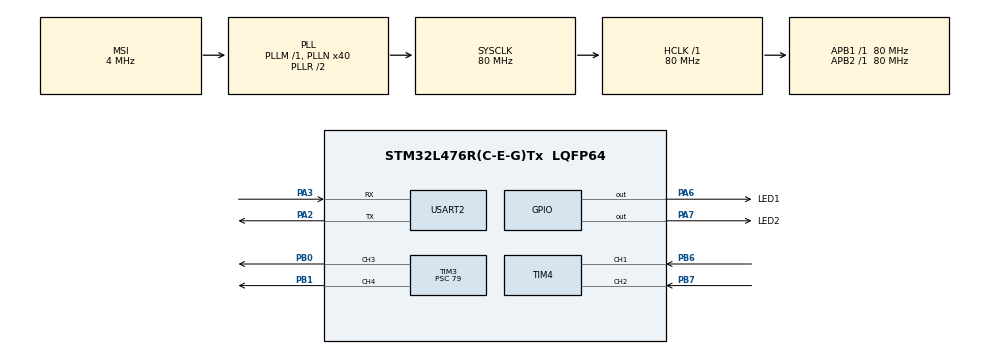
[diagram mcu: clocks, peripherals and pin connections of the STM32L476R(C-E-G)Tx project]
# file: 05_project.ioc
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Mcu.Family=STM32L4
Mcu.Name=STM32L476R(C-E-G)Tx
Mcu.Package=LQFP64
NVIC.PriorityGroup=NVIC_PRIORITYGROUP_4
NVIC.TIM6_DAC_IRQn=true\:10\:0\:true\:false\:true\:true\:true\:true
NVIC.TIM7_IRQn=true\:10\:0\:true\:false\:true\:true\:true\:true
NVIC.USART2_IRQn=true\:0\:0\:false\:false\:true\:true\:true\:true
PA13\ (JTMS-SWDIO).Mode=Serial_Wire
PA13\ (JTMS-SWDIO).Signal=SYS_JTMS-SWDIO
PA14\ (JTCK-SWCLK).Mode=Serial_Wire
PA14\ (JTCK-SWCLK).Signal=SYS_JTCK-SWCLK
PA2.Mode=Asynchronous
PA2.Signal=USART2_TX
PA3.Mode=Asynchronous
PA3.Signal=USART2_RX
PA6.GPIO_Label=LED1
PA6.Signal=GPIO_Output
PA7.GPIO_Label=LED2
PA7.Signal=GPIO_Output
PB0.Signal=S_TIM3_CH3
PB1.Signal=S_TIM3_CH4
PB6.Signal=S_TIM4_CH1
PB7.Signal=S_TIM4_CH2
ProjectManager.HeapSize=0x200
ProjectManager.StackSize=0x400
ProjectManager.TargetToolchain=STM32CubeIDE
RCC.AHBFreq_Value=80000000
RCC.APB1Freq_Value=80000000
RCC.APB1TimFreq_Value=80000000
RCC.APB2Freq_Value=80000000
RCC.APB2TimFreq_Value=80000000
RCC.CortexFreq_Value=80000000
RCC.HCLKFreq_Value=80000000
RCC.HSE_VALUE=8000000
RCC.HSI_VALUE=16000000
RCC.LSE_VALUE=32768
RCC.MSI_VALUE=4000000
RCC.PLLN=40
RCC.SYSCLKFreq_VALUE=80000000
RCC.SYSCLKSource=RCC_SYSCLKSOURCE_PLLCLK
RCC.VCOOutputFreq_Value=160000000
SH.S_TIM3_CH3.0=TIM3_CH3,PWM Generation3 CH3
SH.S_TIM3_CH4.0=TIM3_CH4,PWM Generation4 CH4
SH.S_TIM4_CH1.0=TIM4_CH1,Encoder_Interface
SH.S_TIM4_CH2.0=TIM4_CH2,Encoder_Interface
TIM3.Channel-PWM\ Generation3\ CH3=TIM_CHANNEL_3
TIM3.Channel-PWM\ Generation4\ CH4=TIM_CHANNEL_4
TIM3.OCPolarity_3=TIM_OCPOLARITY_LOW
TIM3.OCPolarity_4=TIM_OCPOLARITY_LOW
TIM3.Period=999
TIM3.Prescaler=79
TIM3.Pulse-PWM\ Generation3\ CH3=400
TIM3.Pulse-PWM\ Generation4\ CH4=2000
TIM6.Period=19999
TIM6.Prescaler=7999
TIM7.Period=4999
TIM7.Prescaler=7999
USART2.VirtualMode-Asynchronous=VM_ASYNC
VP_TIM3_VS_ClockSourceINT.Mode=Internal
VP_TIM6_VS_ClockSourceINT.Mode=Enable_Timer
VP_TIM7_VS_ClockSourceINT.Mode=Enable_Timer
board=custom

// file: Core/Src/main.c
/* USER CODE BEGIN Header */
/**
  ******************************************************************************
  * @file           : main.c
  * @brief          : Main program body
  ******************************************************************************
  * @attention
  *
  * Copyright (c) 2026 STMicroelectronics.
  * All rights reserved.
  *
  * This software is licensed under terms that can be found in the LICENSE file
  * in the root directory of this software component.
  * If no LICENSE file comes with this software, it is provided AS-IS.
  *
  ******************************************************************************
  */
/* USER CODE END Header */
#include "main.h"

TIM_HandleTypeDef htim3;
TIM_HandleTypeDef htim4;
TIM_HandleTypeDef htim6;
TIM_HandleTypeDef htim7;

UART_HandleTypeDef huart2;

void SystemClock_Config(void);
static void MX_GPIO_Init(void);
static void MX_TIM6_Init(void);
static void MX_TIM7_Init(void);
static void MX_USART2_UART_Init(void);
static void MX_TIM3_Init(void);
static void MX_TIM4_Init(void);

/* USER CODE BEGIN 0 */
void HAL_TIM_PeriodElapsedCallback(TIM_HandleTypeDef *htim)
{
    if (htim->Instance == TIM6)
    {
        HAL_GPIO_TogglePin(LED1_GPIO_Port, LED1_Pin);
    }

    if (htim->Instance == TIM7)
    {
        HAL_GPIO_TogglePin(LED2_GPIO_Port, LED2_Pin);
    }
}

int __io_putchar(int ch)
{
  if (ch == '\n') {
    __io_putchar('\r');
  }

  HAL_UART_Transmit(&huart2, (uint8_t*)&ch, 1, HAL_MAX_DELAY);

  return 1;
}
/* USER CODE END 0 */

int main(void)
{

  /* MCU Configuration--------------------------------------------------------*/

  /* Reset of all peripherals, Initializes the Flash interface and the Systick. */
  HAL_Init();

  /* Configure the system clock */
  SystemClock_Config();

  /* Initialize all configured peripherals */
  MX_GPIO_Init();
  MX_TIM6_Init();
  MX_TIM7_Init();
  MX_USART2_UART_Init();
  MX_TIM3_Init();
  MX_TIM4_Init();
  /* USER CODE BEGIN 2 */
  HAL_TIM_Base_Start_IT(&htim6);
  HAL_TIM_Base_Start_IT(&htim7);

  HAL_TIM_PWM_Start(&htim3, TIM_CHANNEL_3);
  HAL_TIM_PWM_Start(&htim3, TIM_CHANNEL_4);

  HAL_TIM_Encoder_Start(&htim4, TIM_CHANNEL_ALL);

  /* USER CODE END 2 */

  /* Infinite loop */
  /* USER CODE BEGIN WHILE */

  uint16_t brightness = 0;
  int direction = 1;

  uint32_t last_tick = 0;
  int16_t prev_encoder = 0;

  int16_t encoder_base = 0;

  while (1)
  {
	 int16_t encoder_delta = (int16_t)__HAL_TIM_GET_COUNTER(&htim4);
	 __HAL_TIM_SET_COUNTER(&htim4, 0);

	 static int32_t encoder_sum = 0;
	 encoder_sum += encoder_delta;

	 if (encoder_sum > 100) encoder_sum = 100;
	 if (encoder_sum < -100) encoder_sum = -100;

	 uint32_t interval = 200 - (encoder_sum * 2);
	 if (interval < 20) interval = 20;
	 if (interval > 1000) interval = 1000;

	 if (HAL_GetTick() - last_tick >= interval){
		 last_tick = HAL_GetTick();
	     brightness += direction * 25;

	     if (brightness >= 999){
	    	 brightness = 999;
	         direction = -1;
	     } else if (brightness <= 0) {
	    	 brightness = 0;
	    	 direction = 1;
	     }
	 }
	 __HAL_TIM_SET_COMPARE(&htim3, TIM_CHANNEL_3, brightness);
	 __HAL_TIM_SET_COMPARE(&htim3, TIM_CHANNEL_4, 999 - brightness);
    /* USER CODE END WHILE */

  }
}

void SystemClock_Config(void)
{
  RCC_OscInitTypeDef RCC_OscInitStruct = {0};
  RCC_ClkInitTypeDef RCC_ClkInitStruct = {0};

  /** Configure the main internal regulator output voltage
  */
  if (HAL_PWREx_ControlVoltageScaling(PWR_REGULATOR_VOLTAGE_SCALE1) != HAL_OK)
  {
    Error_Handler();
  }

  /** Initializes the RCC Oscillators according to the specified parameters
  * in the RCC_OscInitTypeDef structure.
  */
  RCC_OscInitStruct.OscillatorType = RCC_OSCILLATORTYPE_MSI;
  RCC_OscInitStruct.MSIState = RCC_MSI_ON;
  RCC_OscInitStruct.MSICalibrationValue = 0;
  RCC_OscInitStruct.MSIClockRange = RCC_MSIRANGE_6;
  RCC_OscInitStruct.PLL.PLLState = RCC_PLL_ON;
  RCC_OscInitStruct.PLL.PLLSource = RCC_PLLSOURCE_MSI;
  RCC_OscInitStruct.PLL.PLLM = 1;
  RCC_OscInitStruct.PLL.PLLN = 40;
  RCC_OscInitStruct.PLL.PLLP = RCC_PLLP_DIV7;
  RCC_OscInitStruct.PLL.PLLQ = RCC_PLLQ_DIV2;
  RCC_OscInitStruct.PLL.PLLR = RCC_PLLR_DIV2;
  if (HAL_RCC_OscConfig(&RCC_OscInitStruct) != HAL_OK)
  {
    Error_Handler();
  }

  /** Initializes the CPU, AHB and APB buses clocks
  */
  RCC_ClkInitStruct.ClockType = RCC_CLOCKTYPE_HCLK|RCC_CLOCKTYPE_SYSCLK
                              |RCC_CLOCKTYPE_PCLK1|RCC_CLOCKTYPE_PCLK2;
  RCC_ClkInitStruct.SYSCLKSource = RCC_SYSCLKSOURCE_PLLCLK;
  RCC_ClkInitStruct.AHBCLKDivider = RCC_SYSCLK_DIV1;
  RCC_ClkInitStruct.APB1CLKDivider = RCC_HCLK_DIV1;
  RCC_ClkInitStruct.APB2CLKDivider = RCC_HCLK_DIV1;

  if (HAL_RCC_ClockConfig(&RCC_ClkInitStruct, FLASH_LATENCY_4) != HAL_OK)
  {
    Error_Handler();
  }
}

static void MX_TIM3_Init(void)
{

  TIM_ClockConfigTypeDef sClockSourceConfig = {0};
  TIM_MasterConfigTypeDef sMasterConfig = {0};
  TIM_OC_InitTypeDef sConfigOC = {0};

  htim3.Instance = TIM3;
  htim3.Init.Prescaler = 79;
  htim3.Init.CounterMode = TIM_COUNTERMODE_UP;
  htim3.Init.Period = 999;
  htim3.Init.ClockDivision = TIM_CLOCKDIVISION_DIV1;
  htim3.Init.AutoReloadPreload = TIM_AUTORELOAD_PRELOAD_DISABLE;
  if (HAL_TIM_Base_Init(&htim3) != HAL_OK)
  {
    Error_Handler();
  }
  sClockSourceConfig.ClockSource = TIM_CLOCKSOURCE_INTERNAL;
  if (HAL_TIM_ConfigClockSource(&htim3, &sClockSourceConfig) != HAL_OK)
  {
    Error_Handler();
  }
  if (HAL_TIM_PWM_Init(&htim3) != HAL_OK)
  {
    Error_Handler();
  }
  sMasterConfig.MasterOutputTrigger = TIM_TRGO_RESET;
  sMasterConfig.MasterSlaveMode = TIM_MASTERSLAVEMODE_DISABLE;
  if (HAL_TIMEx_MasterConfigSynchronization(&htim3, &sMasterConfig) != HAL_OK)
  {
    Error_Handler();
  }
  sConfigOC.OCMode = TIM_OCMODE_PWM1;
  sConfigOC.Pulse = 0;
  sConfigOC.OCPolarity = TIM_OCPOLARITY_LOW;
  sConfigOC.OCFastMode = TIM_OCFAST_DISABLE;
  if (HAL_TIM_PWM_ConfigChannel(&htim3, &sConfigOC, TIM_CHANNEL_3) != HAL_OK)
  {
    Error_Handler();
  }
  sConfigOC.Pulse = 2000;
  if (HAL_TIM_PWM_ConfigChannel(&htim3, &sConfigOC, TIM_CHANNEL_4) != HAL_OK)
  {
    Error_Handler();
  }
  HAL_TIM_MspPostInit(&htim3);

}

static void MX_TIM4_Init(void)
{

  TIM_Encoder_InitTypeDef sConfig = {0};
  TIM_MasterConfigTypeDef sMasterConfig = {0};

  htim4.Instance = TIM4;
  htim4.Init.Prescaler = 0;
  htim4.Init.CounterMode = TIM_COUNTERMODE_UP;
  htim4.Init.Period = 65535;
  htim4.Init.ClockDivision = TIM_CLOCKDIVISION_DIV1;
  htim4.Init.AutoReloadPreload = TIM_AUTORELOAD_PRELOAD_DISABLE;
  sConfig.EncoderMode = TIM_ENCODERMODE_TI12;
  sConfig.IC1Polarity = TIM_ICPOLARITY_RISING;
  sConfig.IC1Selection = TIM_ICSELECTION_DIRECTTI;
  sConfig.IC1Prescaler = TIM_ICPSC_DIV1;
  sConfig.IC1Filter = 0;
  sConfig.IC2Polarity = TIM_ICPOLARITY_RISING;
  sConfig.IC2Selection = TIM_ICSELECTION_DIRECTTI;
  sConfig.IC2Prescaler = TIM_ICPSC_DIV1;
  sConfig.IC2Filter = 0;
  if (HAL_TIM_Encoder_Init(&htim4, &sConfig) != HAL_OK)
  {
    Error_Handler();
  }
  sMasterConfig.MasterOutputTrigger = TIM_TRGO_RESET;
  sMasterConfig.MasterSlaveMode = TIM_MASTERSLAVEMODE_DISABLE;
  if (HAL_TIMEx_MasterConfigSynchronization(&htim4, &sMasterConfig) != HAL_OK)
  {
    Error_Handler();
  }

}

static void MX_TIM6_Init(void)
{

  TIM_MasterConfigTypeDef sMasterConfig = {0};

  htim6.Instance = TIM6;
  htim6.Init.Prescaler = 7999;
  htim6.Init.CounterMode = TIM_COUNTERMODE_UP;
  htim6.Init.Period = 19999;
  htim6.Init.AutoReloadPreload = TIM_AUTORELOAD_PRELOAD_DISABLE;
  if (HAL_TIM_Base_Init(&htim6) != HAL_OK)
  {
    Error_Handler();
  }
  sMasterConfig.MasterOutputTrigger = TIM_TRGO_RESET;
  sMasterConfig.MasterSlaveMode = TIM_MASTERSLAVEMODE_DISABLE;
  if (HAL_TIMEx_MasterConfigSynchronization(&htim6, &sMasterConfig) != HAL_OK)
  {
    Error_Handler();
  }

}

static void MX_TIM7_Init(void)
{

  TIM_MasterConfigTypeDef sMasterConfig = {0};

  htim7.Instance = TIM7;
  htim7.Init.Prescaler = 7999;
  htim7.Init.CounterMode = TIM_COUNTERMODE_UP;
  htim7.Init.Period = 4999;
  htim7.Init.AutoReloadPreload = TIM_AUTORELOAD_PRELOAD_DISABLE;
  if (HAL_TIM_Base_Init(&htim7) != HAL_OK)
  {
    Error_Handler();
  }
  sMasterConfig.MasterOutputTrigger = TIM_TRGO_RESET;
  sMasterConfig.MasterSlaveMode = TIM_MASTERSLAVEMODE_DISABLE;
  if (HAL_TIMEx_MasterConfigSynchronization(&htim7, &sMasterConfig) != HAL_OK)
  {
    Error_Handler();
  }

}

static void MX_USART2_UART_Init(void)
{

  huart2.Instance = USART2;
  huart2.Init.BaudRate = 115200;
  huart2.Init.WordLength = UART_WORDLENGTH_8B;
  huart2.Init.StopBits = UART_STOPBITS_1;
  huart2.Init.Parity = UART_PARITY_NONE;
  huart2.Init.Mode = UART_MODE_TX_RX;
  huart2.Init.HwFlowCtl = UART_HWCONTROL_NONE;
  huart2.Init.OverSampling = UART_OVERSAMPLING_16;
  huart2.Init.OneBitSampling = UART_ONE_BIT_SAMPLE_DISABLE;
  huart2.AdvancedInit.AdvFeatureInit = UART_ADVFEATURE_NO_INIT;
  if (HAL_UART_Init(&huart2) != HAL_OK)
  {
    Error_Handler();
  }

}

static void MX_GPIO_Init(void)
{
  GPIO_InitTypeDef GPIO_InitStruct = {0};

  /* GPIO Ports Clock Enable */
  __HAL_RCC_GPIOA_CLK_ENABLE();
  __HAL_RCC_GPIOB_CLK_ENABLE();

  /*Configure GPIO pin Output Level */
  HAL_GPIO_WritePin(GPIOA, LED1_Pin|LED2_Pin, GPIO_PIN_RESET);

  /*Configure GPIO pins : LED1_Pin LED2_Pin */
  GPIO_InitStruct.Pin = LED1_Pin|LED2_Pin;
  GPIO_InitStruct.Mode = GPIO_MODE_OUTPUT_PP;
  GPIO_InitStruct.Pull = GPIO_NOPULL;
  GPIO_InitStruct.Speed = GPIO_SPEED_FREQ_LOW;
  HAL_GPIO_Init(GPIOA, &GPIO_InitStruct);

}

void Error_Handler(void)
{
  __disable_irq();
  while (1)
  {
  }
}
